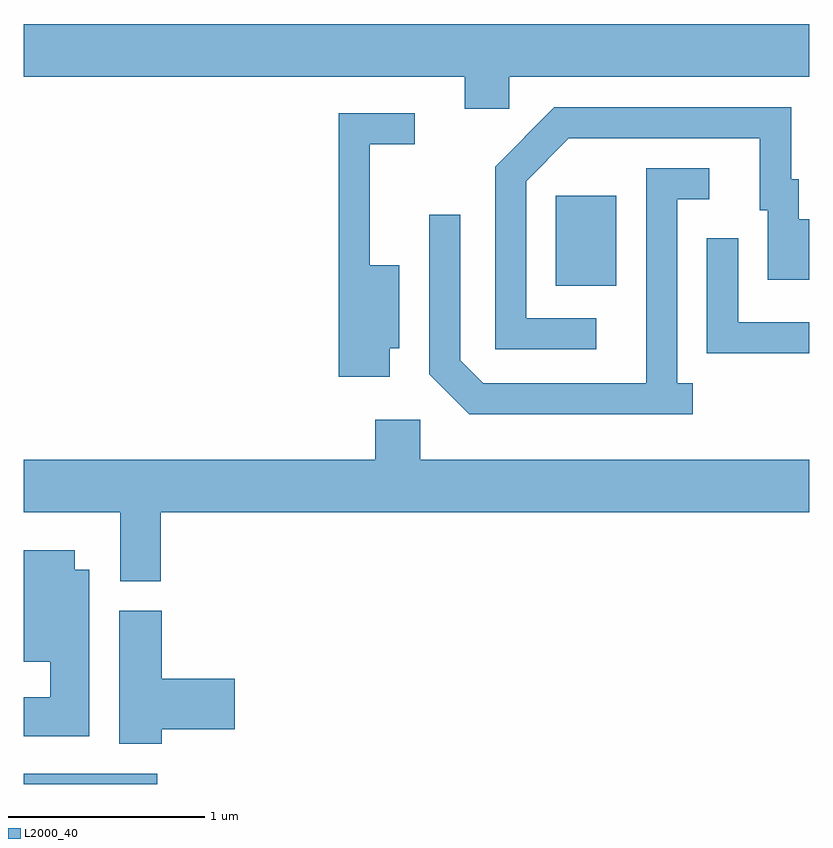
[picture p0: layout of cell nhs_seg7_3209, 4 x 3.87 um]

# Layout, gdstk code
import gdstk
lib = gdstk.Library(unit=1e-6, precision=1e-09)
def R(c, l, rs):  # rectangles x0, y0, x1, y1
    for r in rs: c.add(gdstk.rectangle(r[:2], r[2:], *l))
def P(c, l, *ps):  # polygons
    for p in ps: c.add(gdstk.Polygon(p, *l))
L2000_40 = (2000, 40)

nhs_seg7_3209 = lib.new_cell('nhs_seg7_3209')
R(nhs_seg7_3209, L2000_40, [(283.611,1726.252,284.289,1726.304), (286.321,1728.791,286.629,1729.249)])
P(nhs_seg7_3209, L2000_40, [(286.084,1729.856),(287.611,1729.856),(287.611,1730.124),(283.611,1730.124),(283.611,1729.856),(285.856,1729.856),(285.856,1729.691),(286.084,1729.691)],
  [(286.528,1728.624),(286.169,1728.624),(286.169,1729.324),(286.387,1729.541),(287.361,1729.541),(287.361,1729.176),(287.401,1729.176),(287.401,1728.821),(287.611,1728.821),(287.611,1729.129),(287.559,1729.129),(287.559,1729.334),(287.519,1729.334),(287.519,1729.699),(286.314,1729.699),(286.011,1729.397),(286.011,1728.466),(286.528,1728.466)],
  [(285.474,1728.471),(285.524,1728.471),(285.524,1728.894),(285.374,1728.894),(285.374,1729.511),(285.603,1729.511),(285.603,1729.669),(285.216,1729.669),(285.216,1728.326),(285.474,1728.326)],
  [(287.018,1728.294),(286.939,1728.294),(286.939,1729.231),(287.103,1729.231),(287.103,1729.389),(286.781,1729.389),(286.781,1728.294),(285.952,1728.294),(285.834,1728.412),(285.834,1729.153),(285.676,1729.153),(285.676,1728.339),(285.879,1728.136),(287.018,1728.136)],
  [(287.611,1728.604),(287.249,1728.604),(287.249,1729.033),(287.091,1729.033),(287.091,1728.446),(287.611,1728.446)],
  [(284.309,1727.636),(287.611,1727.636),(287.611,1727.904),(285.629,1727.904),(285.629,1728.109),(285.401,1728.109),(285.401,1727.904),(283.611,1727.904),(283.611,1727.636),(284.101,1727.636),(284.101,1727.286),(284.309,1727.286)],
  [(283.944,1727.344),(283.869,1727.344),(283.869,1727.444),(283.611,1727.444),(283.611,1726.876),(283.746,1726.876),(283.746,1726.694),(283.611,1726.694),(283.611,1726.496),(283.944,1726.496)],
  [(284.314,1726.531),(284.684,1726.531),(284.684,1726.789),(284.314,1726.789),(284.314,1727.134),(284.096,1727.134),(284.096,1726.456),(284.314,1726.456)])

lib.write_gds('nhs_seg7_3209.gds')
